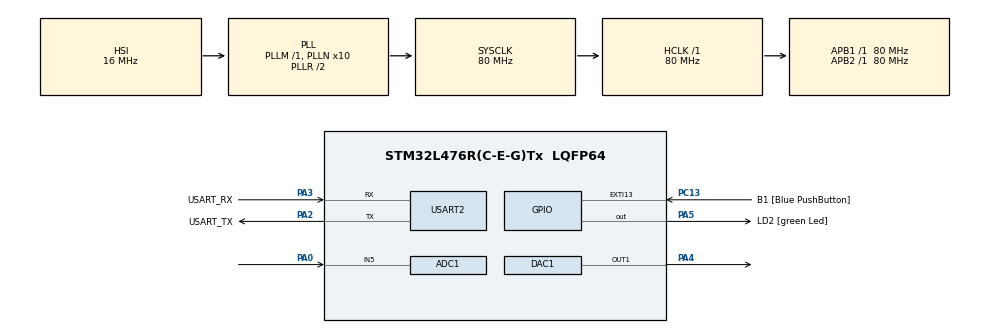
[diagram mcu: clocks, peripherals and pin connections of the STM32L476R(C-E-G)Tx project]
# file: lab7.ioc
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ADC1.Channel-0\#ChannelRegularConversion=ADC_CHANNEL_5
ADC1.ContinuousConvMode=DISABLE
ADC1.DMAContinuousRequests=ENABLE
ADC1.ExternalTrigConv=ADC_EXTERNALTRIG_T6_TRGO
ADC1.NbrOfConversionFlag=1
ADC1.OffsetNumber-0\#ChannelRegularConversion=ADC_OFFSET_NONE
ADC1.Rank-0\#ChannelRegularConversion=1
ADC1.SamplingTime-0\#ChannelRegularConversion=ADC_SAMPLETIME_2CYCLES_5
ADC1.master=1
DAC1.DAC_Trigger-DAC_OUT1=DAC_TRIGGER_T6_TRGO
Dma.ADC1.0.Direction=DMA_PERIPH_TO_MEMORY
Dma.ADC1.0.Instance=DMA1_Channel1
Dma.ADC1.0.MemDataAlignment=DMA_MDATAALIGN_HALFWORD
Dma.ADC1.0.MemInc=DMA_MINC_ENABLE
Dma.ADC1.0.Mode=DMA_CIRCULAR
Dma.ADC1.0.PeriphDataAlignment=DMA_PDATAALIGN_HALFWORD
Dma.ADC1.0.PeriphInc=DMA_PINC_DISABLE
Dma.ADC1.0.Priority=DMA_PRIORITY_HIGH
Dma.DAC_CH1.1.Direction=DMA_MEMORY_TO_PERIPH
Dma.DAC_CH1.1.Instance=DMA1_Channel3
Dma.DAC_CH1.1.MemDataAlignment=DMA_MDATAALIGN_HALFWORD
Dma.DAC_CH1.1.MemInc=DMA_MINC_ENABLE
Dma.DAC_CH1.1.Mode=DMA_CIRCULAR
Dma.DAC_CH1.1.PeriphDataAlignment=DMA_PDATAALIGN_HALFWORD
Dma.DAC_CH1.1.PeriphInc=DMA_PINC_DISABLE
Dma.DAC_CH1.1.Priority=DMA_PRIORITY_LOW
Dma.Request0=ADC1
Dma.Request1=DAC_CH1
Mcu.Family=STM32L4
Mcu.Name=STM32L476R(C-E-G)Tx
Mcu.Package=LQFP64
NVIC.DMA1_Channel1_IRQn=true\:0\:0\:false\:false\:true\:false\:true\:true
NVIC.DMA1_Channel3_IRQn=true\:0\:0\:false\:false\:true\:false\:true\:true
NVIC.EXTI15_10_IRQn=true\:0\:0\:false\:false\:true\:true\:true\:true
NVIC.PriorityGroup=NVIC_PRIORITYGROUP_4
PA0.Signal=ADCx_IN5
PA13\ (JTMS-SWDIO).GPIO_Label=TMS
PA13\ (JTMS-SWDIO).Mode=Serial_Wire
PA13\ (JTMS-SWDIO).Signal=SYS_JTMS-SWDIO
PA14\ (JTCK-SWCLK).GPIO_Label=TCK
PA14\ (JTCK-SWCLK).Mode=Serial_Wire
PA14\ (JTCK-SWCLK).Signal=SYS_JTCK-SWCLK
PA2.GPIO_Label=USART_TX
PA2.GPIO_Mode=GPIO_MODE_AF_PP
PA2.GPIO_PuPd=GPIO_NOPULL
PA2.GPIO_Speed=GPIO_SPEED_FREQ_VERY_HIGH
PA2.Mode=Asynchronous
PA2.Signal=USART2_TX
PA3.GPIO_Label=USART_RX
PA3.GPIO_Mode=GPIO_MODE_AF_PP
PA3.GPIO_PuPd=GPIO_NOPULL
PA3.GPIO_Speed=GPIO_SPEED_FREQ_VERY_HIGH
PA3.Mode=Asynchronous
PA3.Signal=USART2_RX
PA4.Signal=COMP_DAC11_group
PA5.GPIO_Label=LD2 [green Led]
PA5.GPIO_ModeDefaultOutputPP=GPIO_MODE_OUTPUT_PP
PA5.GPIO_PuPd=GPIO_NOPULL
PA5.GPIO_Speed=GPIO_SPEED_FREQ_LOW
PA5.Signal=GPIO_Output
PB3\ (JTDO-TRACESWO).GPIO_Label=SWO
PB3\ (JTDO-TRACESWO).Signal=SYS_JTDO-SWO
PC13.GPIO_Label=B1 [Blue PushButton]
PC13.GPIO_ModeDefaultEXTI=GPIO_MODE_IT_RISING
PC13.GPIO_PuPd=GPIO_NOPULL
PC13.Signal=GPXTI13
PC14-OSC32_IN\ (PC14).Mode=LSE-External-Oscillator
PC14-OSC32_IN\ (PC14).Signal=RCC_OSC32_IN
PC15-OSC32_OUT\ (PC15).Mode=LSE-External-Oscillator
PC15-OSC32_OUT\ (PC15).Signal=RCC_OSC32_OUT
PH0-OSC_IN\ (PH0).Signal=RCC_OSC_IN
PH1-OSC_OUT\ (PH1).Signal=RCC_OSC_OUT
ProjectManager.HeapSize=0x200
ProjectManager.StackSize=0x400
ProjectManager.TargetToolchain=STM32CubeIDE
RCC.ADCFreq_Value=64000000
RCC.AHBFreq_Value=80000000
RCC.APB1Freq_Value=80000000
RCC.APB1TimFreq_Value=80000000
RCC.APB2Freq_Value=80000000
RCC.APB2TimFreq_Value=80000000
RCC.CortexFreq_Value=80000000
RCC.HCLKFreq_Value=80000000
RCC.HSE_VALUE=8000000
RCC.HSI_VALUE=16000000
RCC.MSI_VALUE=4000000
RCC.PLLN=10
RCC.PLLSourceVirtual=RCC_PLLSOURCE_HSI
RCC.PREFETCH_ENABLE=1
RCC.SYSCLKFreq_VALUE=80000000
RCC.SYSCLKSource=RCC_SYSCLKSOURCE_PLLCLK
RCC.USBFreq_Value=64000000
RCC.VCOOutputFreq_Value=160000000
SH.ADCx_IN5.0=ADC1_IN5,IN5-Single-Ended
SH.COMP_DAC11_group.0=DAC1_OUT1,DAC_OUT1
TIM6.Period=24
TIM6.Prescaler=79
TIM6.TIM_MasterOutputTrigger=TIM_TRGO_UPDATE
USART2.VirtualMode-Asynchronous=VM_ASYNC
VP_TIM6_VS_ClockSourceINT.Mode=Enable_Timer
board=NUCLEO-L476RG

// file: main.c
/* USER CODE BEGIN Header */
/* USER CODE END Header */
#include "main.h"

/* USER CODE BEGIN PD */
/* USER CODE BEGIN PD */
#define BUFFER_SIZE 20000
#define BUFFER_HALFSIZE (BUFFER_SIZE / 2)
#define COS_TABLE_LEN 100
/* USER CODE END PD */

ADC_HandleTypeDef hadc1;
DMA_HandleTypeDef hdma_adc1;

DAC_HandleTypeDef hdac1;
DMA_HandleTypeDef hdma_dac_ch1;

TIM_HandleTypeDef htim6;

UART_HandleTypeDef huart2;

/* USER CODE BEGIN PV */
uint16_t adc_buffer[BUFFER_SIZE];
uint16_t dac_buffer[BUFFER_SIZE];

static int16_t cos_table[COS_TABLE_LEN] = {
	32767,32702,32509,32187,31738,31163,30466,29648,28714,27666,26509,25247,23886,22431,20886,19260,17557,15786,13952,12062,10126,8149,6140,4107,2057,0,-2057,-4107,-6140,-8149,-10126,-12062,-13952,-15786,-17557,-19260,-20886,-22431,-23886,-25247,-26509,-27666,-28714,-29648,-30466,-31163,-31738,-32187,-32509,-32702,-32767,-32702,-32509,-32187,-31738,-31163,-30466,-29648,-28714,-27666,-26509,-25247,-23886,-22431,-20886,-19260,-17557,-15786,-13952,-12062,-10126,-8149,-6140,-4107,-2057,0,2057,4107,6140,8149,10126,12062,13952,15786,17557,19260,20886,22431,23886,25247,26509,27666,28714,29648,30466,31163,31738,32187,32509,32702
};

//static int16_t cos_table[COS_TABLE_LEN] = {
//		32767,32702,32509,32187,31738,31163,30466,29648,28714,27666,
//		26509,25247,23886,22431,20886,19260,17557,15786,13952,12062,
//		10126,8149,6140,4107,2057,0,-2057,-4107,-6140,-8149,-10126,
//		-12062,-13952,-15786,-17557,-19260,-20886,-22431,-23886,-25247,
//		-26509,-27666,-28714,-29648,-30466,-31163,-31738,-32187,-32509,-32702
//};

/* USER CODE END PV */

void SystemClock_Config(void);
static void MX_GPIO_Init(void);
static void MX_DMA_Init(void);
static void MX_USART2_UART_Init(void);
static void MX_ADC1_Init(void);
static void MX_TIM6_Init(void);
static void MX_DAC1_Init(void);
/* USER CODE BEGIN PFP */
void processBuffer(uint16_t *inBuffer, uint16_t *outBuffer, uint16_t size);

/* USER CODE END PFP */

int main(void)
{

  /* MCU Configuration--------------------------------------------------------*/

  /* Reset of all peripherals, Initializes the Flash interface and the Systick. */
  HAL_Init();

  /* Configure the system clock */
  SystemClock_Config();

  /* Initialize all configured peripherals */
  MX_GPIO_Init();
  MX_DMA_Init();
  MX_USART2_UART_Init();
  MX_ADC1_Init();
  MX_TIM6_Init();
  MX_DAC1_Init();
  /* USER CODE BEGIN 2 */
  /* USER CODE BEGIN 2 */
  HAL_TIM_Base_Start(&htim6); // Start Timer 6
//  HAL_ADC_Start_DMA(&hadc1, (uint32_t*)adc_buffer, BUFFER_SIZE); // Start ADC with DMA
//  HAL_DAC_Start_DMA(&hdac1, DAC_CHANNEL_1, (uint32_t*)dac_buffer, BUFFER_SIZE, DAC_ALIGN_12B_R); // Start DAC with DMA
  /* USER CODE END 2 */

  /* Infinite loop */
  while(1){
  }

}

void SystemClock_Config(void)
{
  RCC_OscInitTypeDef RCC_OscInitStruct = {0};
  RCC_ClkInitTypeDef RCC_ClkInitStruct = {0};

  /** Configure the main internal regulator output voltage
  */
  if (HAL_PWREx_ControlVoltageScaling(PWR_REGULATOR_VOLTAGE_SCALE1) != HAL_OK)
  {
    Error_Handler();
  }

  /** Initializes the RCC Oscillators according to the specified parameters
  * in the RCC_OscInitTypeDef structure.
  */
  RCC_OscInitStruct.OscillatorType = RCC_OSCILLATORTYPE_HSI;
  RCC_OscInitStruct.HSIState = RCC_HSI_ON;
  RCC_OscInitStruct.HSICalibrationValue = RCC_HSICALIBRATION_DEFAULT;
  RCC_OscInitStruct.PLL.PLLState = RCC_PLL_ON;
  RCC_OscInitStruct.PLL.PLLSource = RCC_PLLSOURCE_HSI;
  RCC_OscInitStruct.PLL.PLLM = 1;
  RCC_OscInitStruct.PLL.PLLN = 10;
  RCC_OscInitStruct.PLL.PLLP = RCC_PLLP_DIV7;
  RCC_OscInitStruct.PLL.PLLQ = RCC_PLLQ_DIV2;
  RCC_OscInitStruct.PLL.PLLR = RCC_PLLR_DIV2;
  if (HAL_RCC_OscConfig(&RCC_OscInitStruct) != HAL_OK)
  {
    Error_Handler();
  }

  /** Initializes the CPU, AHB and APB buses clocks
  */
  RCC_ClkInitStruct.ClockType = RCC_CLOCKTYPE_HCLK|RCC_CLOCKTYPE_SYSCLK
                              |RCC_CLOCKTYPE_PCLK1|RCC_CLOCKTYPE_PCLK2;
  RCC_ClkInitStruct.SYSCLKSource = RCC_SYSCLKSOURCE_PLLCLK;
  RCC_ClkInitStruct.AHBCLKDivider = RCC_SYSCLK_DIV1;
  RCC_ClkInitStruct.APB1CLKDivider = RCC_HCLK_DIV1;
  RCC_ClkInitStruct.APB2CLKDivider = RCC_HCLK_DIV1;

  if (HAL_RCC_ClockConfig(&RCC_ClkInitStruct, FLASH_LATENCY_4) != HAL_OK)
  {
    Error_Handler();
  }
}

static void MX_ADC1_Init(void)
{

  ADC_MultiModeTypeDef multimode = {0};
  ADC_ChannelConfTypeDef sConfig = {0};

  /** Common config
  */
  hadc1.Instance = ADC1;
  hadc1.Init.ClockPrescaler = ADC_CLOCK_ASYNC_DIV1;
  hadc1.Init.Resolution = ADC_RESOLUTION_12B;
  hadc1.Init.DataAlign = ADC_DATAALIGN_RIGHT;
  hadc1.Init.ScanConvMode = ADC_SCAN_DISABLE;
  hadc1.Init.EOCSelection = ADC_EOC_SINGLE_CONV;
  hadc1.Init.LowPowerAutoWait = DISABLE;
  hadc1.Init.ContinuousConvMode = DISABLE;
  hadc1.Init.NbrOfConversion = 1;
  hadc1.Init.DiscontinuousConvMode = DISABLE;
  hadc1.Init.ExternalTrigConv = ADC_EXTERNALTRIG_T6_TRGO;
  hadc1.Init.ExternalTrigConvEdge = ADC_EXTERNALTRIGCONVEDGE_RISING;
  hadc1.Init.DMAContinuousRequests = ENABLE;
  hadc1.Init.Overrun = ADC_OVR_DATA_PRESERVED;
  hadc1.Init.OversamplingMode = DISABLE;
  if (HAL_ADC_Init(&hadc1) != HAL_OK)
  {
    Error_Handler();
  }

  /** Configure the ADC multi-mode
  */
  multimode.Mode = ADC_MODE_INDEPENDENT;
  if (HAL_ADCEx_MultiModeConfigChannel(&hadc1, &multimode) != HAL_OK)
  {
    Error_Handler();
  }

  /** Configure Regular Channel
  */
  sConfig.Channel = ADC_CHANNEL_5;
  sConfig.Rank = ADC_REGULAR_RANK_1;
  sConfig.SamplingTime = ADC_SAMPLETIME_2CYCLES_5;
  sConfig.SingleDiff = ADC_SINGLE_ENDED;
  sConfig.OffsetNumber = ADC_OFFSET_NONE;
  sConfig.Offset = 0;
  if (HAL_ADC_ConfigChannel(&hadc1, &sConfig) != HAL_OK)
  {
    Error_Handler();
  }

}

static void MX_DAC1_Init(void)
{

  DAC_ChannelConfTypeDef sConfig = {0};

  /** DAC Initialization
  */
  hdac1.Instance = DAC1;
  if (HAL_DAC_Init(&hdac1) != HAL_OK)
  {
    Error_Handler();
  }

  /** DAC channel OUT1 config
  */
  sConfig.DAC_SampleAndHold = DAC_SAMPLEANDHOLD_DISABLE;
  sConfig.DAC_Trigger = DAC_TRIGGER_T6_TRGO;
  sConfig.DAC_OutputBuffer = DAC_OUTPUTBUFFER_ENABLE;
  sConfig.DAC_ConnectOnChipPeripheral = DAC_CHIPCONNECT_DISABLE;
  sConfig.DAC_UserTrimming = DAC_TRIMMING_FACTORY;
  if (HAL_DAC_ConfigChannel(&hdac1, &sConfig, DAC_CHANNEL_1) != HAL_OK)
  {
    Error_Handler();
  }

}

static void MX_TIM6_Init(void)
{

  TIM_MasterConfigTypeDef sMasterConfig = {0};

  htim6.Instance = TIM6;
  htim6.Init.Prescaler = 79;
  htim6.Init.CounterMode = TIM_COUNTERMODE_UP;
  htim6.Init.Period = 24;
  htim6.Init.AutoReloadPreload = TIM_AUTORELOAD_PRELOAD_DISABLE;
  if (HAL_TIM_Base_Init(&htim6) != HAL_OK)
  {
    Error_Handler();
  }
  sMasterConfig.MasterOutputTrigger = TIM_TRGO_UPDATE;
  sMasterConfig.MasterSlaveMode = TIM_MASTERSLAVEMODE_DISABLE;
  if (HAL_TIMEx_MasterConfigSynchronization(&htim6, &sMasterConfig) != HAL_OK)
  {
    Error_Handler();
  }

}

static void MX_USART2_UART_Init(void)
{

  huart2.Instance = USART2;
  huart2.Init.BaudRate = 115200;
  huart2.Init.WordLength = UART_WORDLENGTH_8B;
  huart2.Init.StopBits = UART_STOPBITS_1;
  huart2.Init.Parity = UART_PARITY_NONE;
  huart2.Init.Mode = UART_MODE_TX_RX;
  huart2.Init.HwFlowCtl = UART_HWCONTROL_NONE;
  huart2.Init.OverSampling = UART_OVERSAMPLING_16;
  huart2.Init.OneBitSampling = UART_ONE_BIT_SAMPLE_DISABLE;
  huart2.AdvancedInit.AdvFeatureInit = UART_ADVFEATURE_NO_INIT;
  if (HAL_UART_Init(&huart2) != HAL_OK)
  {
    Error_Handler();
  }

}

static void MX_DMA_Init(void)
{

  /* DMA controller clock enable */
  __HAL_RCC_DMA1_CLK_ENABLE();

  /* DMA interrupt init */
  /* DMA1_Channel1_IRQn interrupt configuration */
  HAL_NVIC_SetPriority(DMA1_Channel1_IRQn, 0, 0);
  HAL_NVIC_EnableIRQ(DMA1_Channel1_IRQn);
  /* DMA1_Channel3_IRQn interrupt configuration */
  HAL_NVIC_SetPriority(DMA1_Channel3_IRQn, 0, 0);
  HAL_NVIC_EnableIRQ(DMA1_Channel3_IRQn);

}

static void MX_GPIO_Init(void)
{
  GPIO_InitTypeDef GPIO_InitStruct = {0};

  /* GPIO Ports Clock Enable */
  __HAL_RCC_GPIOC_CLK_ENABLE();
  __HAL_RCC_GPIOH_CLK_ENABLE();
  __HAL_RCC_GPIOA_CLK_ENABLE();
  __HAL_RCC_GPIOB_CLK_ENABLE();

  /*Configure GPIO pin Output Level */
  HAL_GPIO_WritePin(LD2_GPIO_Port, LD2_Pin, GPIO_PIN_RESET);

  /*Configure GPIO pin : B1_Pin */
  GPIO_InitStruct.Pin = B1_Pin;
  GPIO_InitStruct.Mode = GPIO_MODE_IT_RISING;
  GPIO_InitStruct.Pull = GPIO_NOPULL;
  HAL_GPIO_Init(B1_GPIO_Port, &GPIO_InitStruct);

  /*Configure GPIO pin : LD2_Pin */
  GPIO_InitStruct.Pin = LD2_Pin;
  GPIO_InitStruct.Mode = GPIO_MODE_OUTPUT_PP;
  GPIO_InitStruct.Pull = GPIO_NOPULL;
  GPIO_InitStruct.Speed = GPIO_SPEED_FREQ_LOW;
  HAL_GPIO_Init(LD2_GPIO_Port, &GPIO_InitStruct);

  /* EXTI interrupt init*/
  HAL_NVIC_SetPriority(EXTI15_10_IRQn, 0, 0);
  HAL_NVIC_EnableIRQ(EXTI15_10_IRQn);

}

/* USER CODE BEGIN 4 */
void HAL_GPIO_EXTI_Callback(uint16_t GPIO_Pin){
	HAL_ADC_Start_DMA(&hadc1, adc_buffer, BUFFER_SIZE);
}
void HAL_ADC_ConvHalfCpltCallback(ADC_HandleTypeDef *hadc)
{
processBuffer(&adc_buffer[0], &dac_buffer[0], BUFFER_HALFSIZE);
}
void HAL_ADC_ConvCpltCallback(ADC_HandleTypeDef *hadc)
{
processBuffer(&adc_buffer[BUFFER_HALFSIZE], &dac_buffer[BUFFER_HALFSIZE],BUFFER_HALFSIZE);
	HAL_ADC_Stop(&hadc1);
}
void processBuffer(uint16_t *inBuffer, uint16_t *outBuffer, uint16_t size)
{
int32_t x;
uint8_t gain = 2;
static uint16_t x_prev = 0;
uint8_t nFrames = BUFFER_HALFSIZE/COS_TABLE_LEN;
for(uint8_t fr=0; fr<nFrames; fr++)
{
for(uint8_t i=0; i<COS_TABLE_LEN; i++)
{
x = (int32_t)inBuffer[i+fr*COS_TABLE_LEN];
x = x - x_prev;
x = x * (int32_t)cos_table[i];
x = x >> (15-gain);
outBuffer[i+fr*COS_TABLE_LEN] = (uint16_t)(x + 2048);
x_prev = inBuffer[i+fr*COS_TABLE_LEN];
}
}
}
/* USER CODE END 4 */

void Error_Handler(void)
{
}
